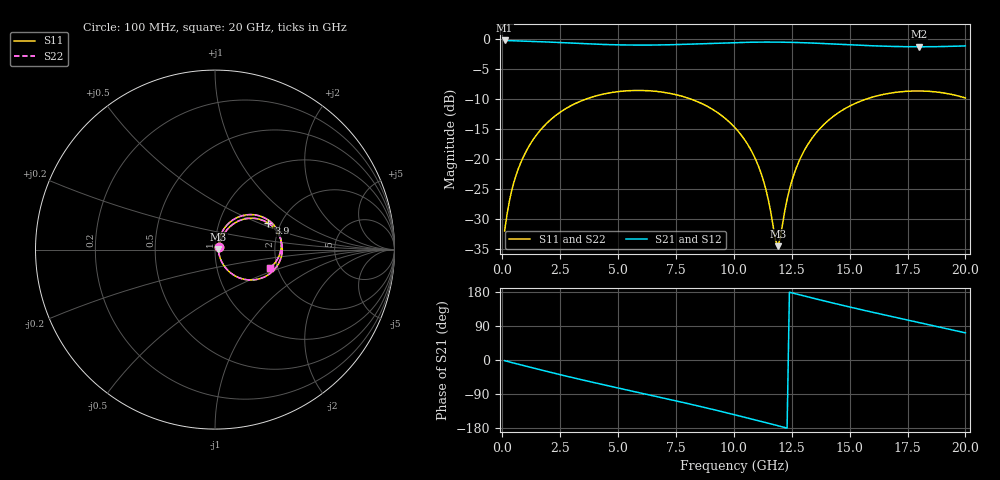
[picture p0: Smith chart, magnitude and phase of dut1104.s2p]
! Touchstone file exported from HFSS 2026.1.0
!  File:  C:/ffzhzh/LocalFiles/Ansys_Project_Files/temp_train_TSV_RDL_1104_1783303663_38704.aedt
!  Generated:  10:17:29 AM Jul  6, 2026
!  Design:  TSV_RDL
!  Project:  temp_train_TSV_RDL_1104_1783303663_38704
! Variables:
!  h_bsmrdl = 2.46um
!  h_ox = 20um
!  h_rdl = 5um
!  h_sub = 61.56um
!  h_tmrdl = 3.74um
!  h_tsv = 61.56um
!  h_via = 3um
!  l_bsmrdl = 382.01um
!  l_sub = 5040.3um
!  l_tmrdl = 838.4um
!  m_sub = 200um
!  pitch = 39.46um
!  r_tsv = 11.63um
!  s_tmrdl = 10um
!  w_bsmrdl = 23.9um
!  w_sub = 500um
!  w_tmrdl = 22.99um
!  x_tsv_center1 = 849.895um
!  x_tsv_center2 = 1255.805um
!  x_tsv_center3 = 2117.195um
!  x_tsv_center4 = 2523.105um
!  x_tsv_center5 = 3384.495um
!  x_tsv_center6 = 3790.405um
# GHz S MA R 50.000000
! Terminal data exported
! Port[1] = TM_RDL1_1_T1
! Port[2] = TM_RDL5_1_T1
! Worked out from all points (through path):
!   200 points, 100 MHz to 20 GHz, reference 50 ohm
!   highest |S21| = -0.19 dB at 100 MHz (marker M1); lowest = -1.2 dB at 18 GHz (marker M2)
!   group delay of S21, straight-line fit = 40.2 ps
!   lowest |S11| = -34.5 dB at 11.9 GHz (marker M3), VSWR 1.04, Z = 51.9 + j0.202 ohm
!   |S11| at or under -10 dB: start of sweep to 3.59 GHz; 8.169 GHz to 15.69 GHz (7.521 GHz wide, 63 % of centre)
!   |S22| runs from -34.5 to -8.5 dB; largest |S21 - S12| = 1.6e-14
!   S11 on the Smith chart (normalised r, x): 100 MHz: 1.04, +0.03; 3.9 GHz: 1.72, +0.57; 20 GHz: 1.83, -0.41
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0.1  0.02528 29.3  0.9783 -1.7  0.9783 -1.7  0.02528 29.3
! Gamma 0 0 0 0
! Port Impedance 50 0 50 0
0.3  0.04419 51.7  0.9751 -5.0  0.9751 -5.0  0.04419 51.7
0.5  0.06422 57.6  0.972 -8.2  0.972 -8.2  0.06422 57.6
1.2  0.1331 58.5  0.9626 -19.0  0.9626 -19.0  0.1331 58.5
2.2  0.2231 48.2  0.9451 -34.2  0.9451 -34.2  0.2231 48.2
3.5  0.3115 31.6  0.9196 -53.1  0.9196 -53.1  0.3116 31.6
3.9  0.3312 26.4  0.9128 -58.8  0.9128 -58.8  0.3312 26.4
5.3  0.3712 8.4  0.8969 -77.9  0.8969 -77.9  0.3713 8.4
6.8  0.3654 -10.8  0.8974 -98.2  0.8974 -98.2  0.3655 -10.8
8.5  0.2982 -32.9  0.9167 -121.9  0.9167 -121.9  0.2983 -32.9
10.1  0.1789 -53.3  0.9395 -145.5  0.9395 -145.5  0.179 -53.3
10.7  0.1231 -59.5  0.9453 -154.7  0.9453 -154.7  0.1233 -59.5
11.2  0.07413 -61.1  0.9478 -162.5  0.9478 -162.5  0.07424 -61.1
11.5  0.04498 -55.5  0.9482 -167.2  0.9482 -167.2  0.04509 -55.6
11.9  0.01886 5.9  0.9474 -173.4  0.9474 -173.4  0.01889 5.6
12.3  0.04625 63.6  0.9449 -179.6  0.9449 -179.6  0.04617 63.5
12.6  0.0753 68.6  0.942 175.7  0.942 175.7  0.0752 68.6
13.4  0.1519 64.1  0.9308 163.4  0.9308 163.4  0.1518 64.1
14.8  0.2644 47.2  0.9043 142.7  0.9043 142.7  0.2643 47.2
16.7  0.3545 23.1  0.8738 116.3  0.8738 116.3  0.3544 23.1
18  0.3711 6.9  0.8667 98.9  0.8667 98.9  0.3711 6.9
20  0.3241 -18.1  0.8811 71.6  0.8811 71.6  0.3241 -18.0
